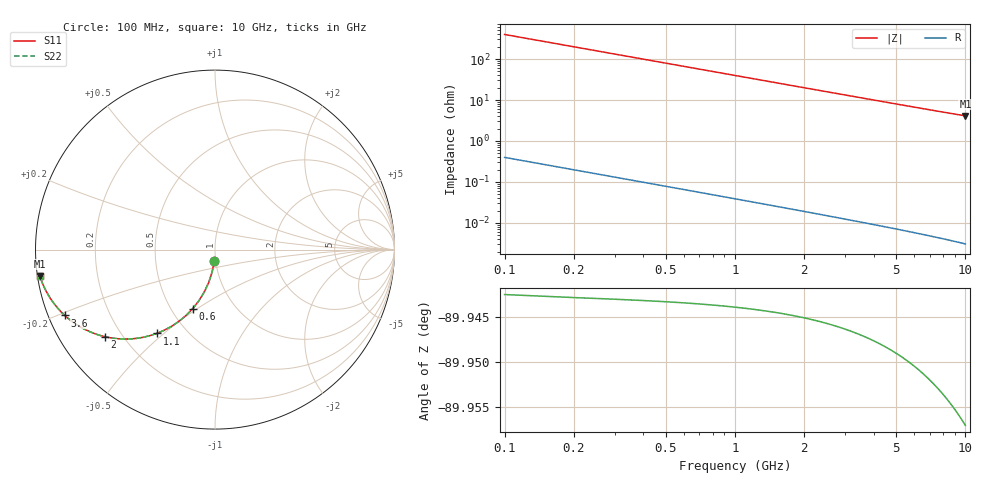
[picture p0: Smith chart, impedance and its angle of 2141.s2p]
# Hz S RI R 50.00
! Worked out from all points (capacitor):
!   100 points, 100 MHz to 10 GHz, reference 50 ohm
!   read as one part in shunt: C = 4.01 pF near 100 MHz
!   lowest |Z| = 4.1 ohm at 10 GHz (marker M1)
!   S11 on the Smith chart (normalised r, x): 100 MHz: 0.98, -0.12; 600 MHz: 0.64, -0.48; 1.1 GHz: 0.34, -0.47; 2 GHz: 0.14, -0.34; 3.6 GHz: 0.05, -0.21; 10 GHz: 0.01, -0.08
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1e8  -0.00396 -0.0626  0.9959 -0.0627  0.9959 -0.0627  -0.00396 -0.0626
2e8  -0.0157 -0.1237  0.9842 -0.124  0.9842 -0.124  -0.0157 -0.1237
3e8  -0.0345 -0.182  0.9654 -0.1824  0.9654 -0.1824  -0.0345 -0.182
4e8  -0.0598 -0.2364  0.9402 -0.2369  0.9402 -0.2369  -0.0598 -0.2364
5e8  -0.0903 -0.2858  0.9096 -0.2864  0.9096 -0.2864  -0.0903 -0.2858
6e8  -0.125 -0.3299  0.8749 -0.3306  0.8749 -0.3306  -0.125 -0.3299
8e8  -0.2024 -0.4008  0.7975 -0.4018  0.7975 -0.4018  -0.2024 -0.4008
9e8  -0.243 -0.4279  0.7569 -0.429  0.7569 -0.429  -0.243 -0.4279
1.1e9  -0.324 -0.4669  0.6759 -0.4682  0.6759 -0.4682  -0.324 -0.4669
1.4e9  -0.437 -0.4947  0.5629 -0.4964  0.5629 -0.4964  -0.437 -0.4947
1.8e9  -0.5618 -0.4945  0.4381 -0.4968  0.4381 -0.4968  -0.5618 -0.4945
2e9  -0.6128 -0.4854  0.3871 -0.4878  0.3871 -0.4878  -0.6128 -0.4854
2.3e9  -0.6766 -0.4658  0.3233 -0.4687  0.3233 -0.4687  -0.6766 -0.4658
2.6e9  -0.7278 -0.443  0.2721 -0.4462  0.2721 -0.4462  -0.7278 -0.443
3e9  -0.7806 -0.4114  0.2193 -0.4151  0.2193 -0.4151  -0.7806 -0.4114
3.4e9  -0.8204 -0.3812  0.1795 -0.3854  0.1795 -0.3854  -0.8204 -0.3812
3.6e9  -0.8367 -0.3669  0.1632 -0.3713  0.1632 -0.3713  -0.8367 -0.3669
4.3e9  -0.8796 -0.3222  0.1203 -0.3275  0.1203 -0.3275  -0.8796 -0.3222
5.1e9  -0.9113 -0.2805  0.0886 -0.2868  0.0886 -0.2868  -0.9113 -0.2805
6.7e9  -0.9467 -0.2198  0.0532 -0.2282  0.0532 -0.2282  -0.9467 -0.2198
8.4e9  -0.9655 -0.1766  0.0344 -0.1871  0.0344 -0.1871  -0.9655 -0.1766
1e10  -0.9754 -0.1476  0.0244 -0.1602  0.0244 -0.1602  -0.9754 -0.1476
